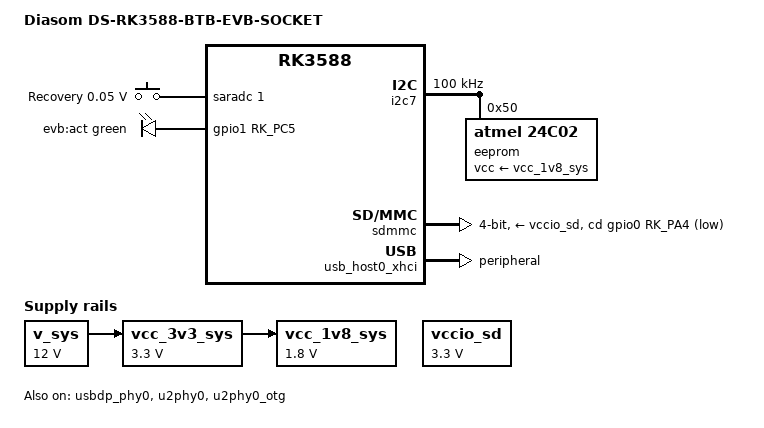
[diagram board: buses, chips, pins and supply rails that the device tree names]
/* SPDX-License-Identifier: GPL-2.0+ */
/* SPDX-FileCopyrightText: Alexander Shiyan <shc_work@mail.ru> */

/dts-v1/;

#include <dt-bindings/input/input.h>
#include <dt-bindings/soc/rockchip,vop2.h>
#include <dt-bindings/usb/pd.h>

#include "rk3588-diasom-btb.dtsi"

/ {
	model = "Diasom DS-RK3588-BTB-EVB-SOCKET";
	compatible = "diasom,ds-rk3588-btb-evb-socket",
		     "diasom,ds-rk3588-btb",
		     "rockchip,rk3588";

	aliases {
		mmc1 = &sdmmc;
	};

	chosen {
		environment-sd {
			compatible = "barebox,environment";
			device-path = &sdmmc, "partname:env";
			status = "disabled";
		};
	};

	adc-keys-1 {
		compatible = "adc-keys";
		io-channels = <&saradc 1>;
		io-channel-names = "buttons";
		keyup-threshold-microvolt = <1750000>;
		poll-interval = <100>;

		button-recovery {
			label = "Recovery";
			linux,code = <KEY_VENDOR>;
			press-threshold-microvolt = <50000>;
		};
	};

	v_sys: v-sys-regulator {
		compatible = "regulator-fixed";
		regulator-name = "v_sys";
		regulator-always-on;
		regulator-boot-on;
		regulator-min-microvolt = <12000000>;
		regulator-max-microvolt = <12000000>;
	};

	vcc_1v8_sys: vcc-1v8_sys-regulator {
		compatible = "regulator-fixed";
		regulator-name = "vcc_1v8_sys";
		regulator-always-on;
		regulator-boot-on;
		regulator-min-microvolt = <1800000>;
		regulator-max-microvolt = <1800000>;
		vin-supply = <&vcc_3v3_sys>;
	};

	vcc_3v3_sys: vcc-3v3_sys-regulator {
		compatible = "regulator-fixed";
		regulator-name = "vcc_3v3_sys";
		regulator-always-on;
		regulator-boot-on;
		regulator-min-microvolt = <3300000>;
		regulator-max-microvolt = <3300000>;
		vin-supply = <&v_sys>;
	};
};

&i2c7 {
	clock-frequency = <100000>;
	status = "okay";

	/* 24aa025e48 */
	eeprom@50 {
		compatible = "atmel,24c02";
		reg = <0x50>;
		pagesize = <16>;
		vcc-supply = <&vcc_1v8_sys>;
		#address-cells = <1>;
		#size-cells = <1>;

		mac1: mac-address@fa {
			reg = <0xfa 0x06>;
			read-only;
		};
	};
};

&leds {
	pinctrl-0 = <&leds_som_pins &leds_evb_pins>;

	led-act {
		label = "evb:act";
		gpios = <&gpio1 RK_PC5 GPIO_ACTIVE_HIGH>;
		function = LED_FUNCTION_ACTIVITY;
		color = <LED_COLOR_ID_GREEN>;
		linux,default-trigger = LED_FUNCTION_ACTIVITY;
		default-state = "off";
	};
};

&sdmmc {
	bus-width = <4>;
	cap-mmc-highspeed;
	cap-sd-highspeed;
	disable-wp;
	no-1-8-v;
	no-sdio;
	no-mmc;
	sd-uhs-sdr104;
	cd-gpios = <&gpio0 RK_PA4 GPIO_ACTIVE_LOW>;
	vmmc-supply = <&vccio_sd>;
	vqmmc-supply = <&vccio_sd>;
	status = "okay";
};

&usb_host0_xhci {
	dr_mode = "peripheral";
	status = "okay";
};

&usbdp_phy0 {
	status = "okay";
};

&u2phy0 {
	status = "okay";
};

&u2phy0_otg {
	status = "okay";
};

&vcc4v0_sys {
	vin-supply = <&v_sys>;
};

&vccio_sd {
	regulator-min-microvolt = <3300000>;
};

&pinctrl {
	leds {
		leds_evb_pins: leds-evb-pins {
			rockchip,pins =
				<1 RK_PC5 RK_FUNC_GPIO &pcfg_pull_none>;	/* VD19 */
		};
	};
};
